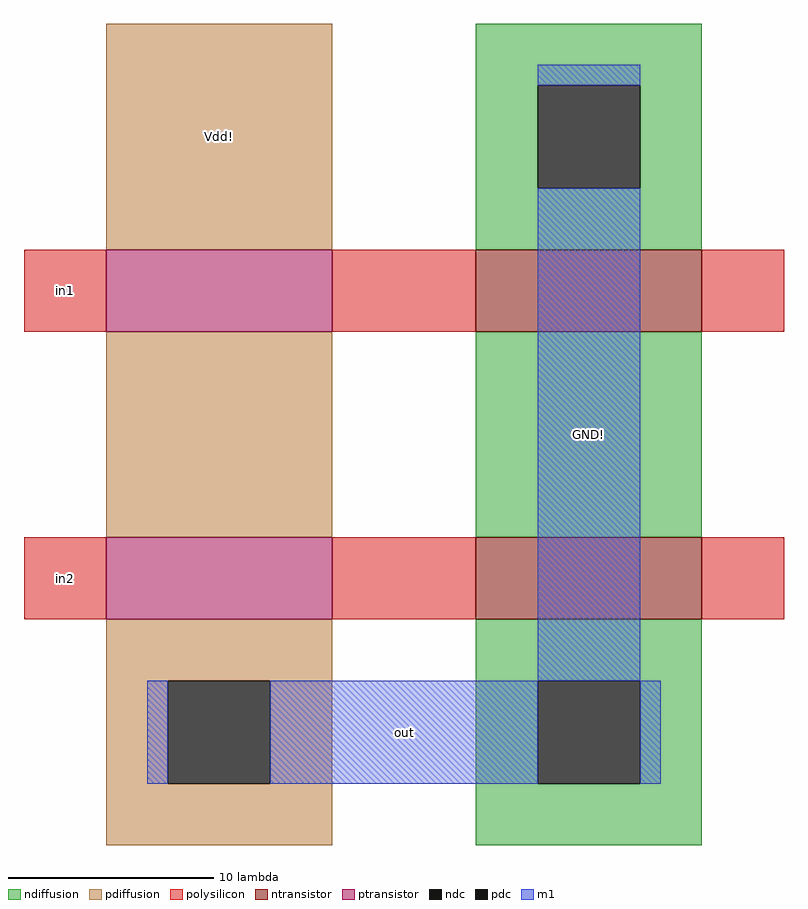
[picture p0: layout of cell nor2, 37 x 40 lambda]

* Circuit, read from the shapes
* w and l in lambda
.subckt nor2 GND! Vdd! in1 in2 out
M1 GND! in2 out VSUBS nfet w=11 l=4
M2 out in1 GND! VSUBS nfet w=11 l=4
M3 n1 in2 out NWELL pfet w=11 l=4
M4 Vdd! in1 n1 NWELL pfet w=11 l=4
.ends

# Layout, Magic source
magic
tech sky130l
<< ndiffusion >>
rect 81 72 92 75
rect 81 67 84 72
rect 89 67 92 72
rect 81 64 92 67
rect 81 50 92 60
rect 81 43 92 46
rect 81 38 84 43
rect 89 38 92 43
rect 81 35 92 38
<< ndc >>
rect 84 67 89 72
rect 84 38 89 43
<< ntransistor >>
rect 81 60 92 64
rect 81 46 92 50
<< pdiffusion >>
rect 63 64 74 75
rect 63 50 74 60
rect 63 43 74 46
rect 63 38 66 43
rect 71 38 74 43
rect 63 35 74 38
<< pdc >>
rect 66 38 71 43
<< ptransistor >>
rect 63 60 74 64
rect 63 46 74 50
<< polysilicon >>
rect 59 60 63 64
rect 74 60 81 64
rect 92 60 96 64
rect 59 46 63 50
rect 74 46 81 50
rect 92 46 96 50
<< m1 >>
rect 84 72 89 73
rect 84 43 89 67
rect 65 38 66 43
rect 71 38 84 43
rect 89 38 90 43
<< labels >>
rlabel pdiffusion 63 64 74 75 0 Vdd!
rlabel ndiffusion 81 50 92 60 3 GND!
rlabel m1 71 38 84 43 5 out
rlabel polysilicon 59 60 63 64 7 in1
rlabel polysilicon 59 46 63 50 7 in2
<< end >>
